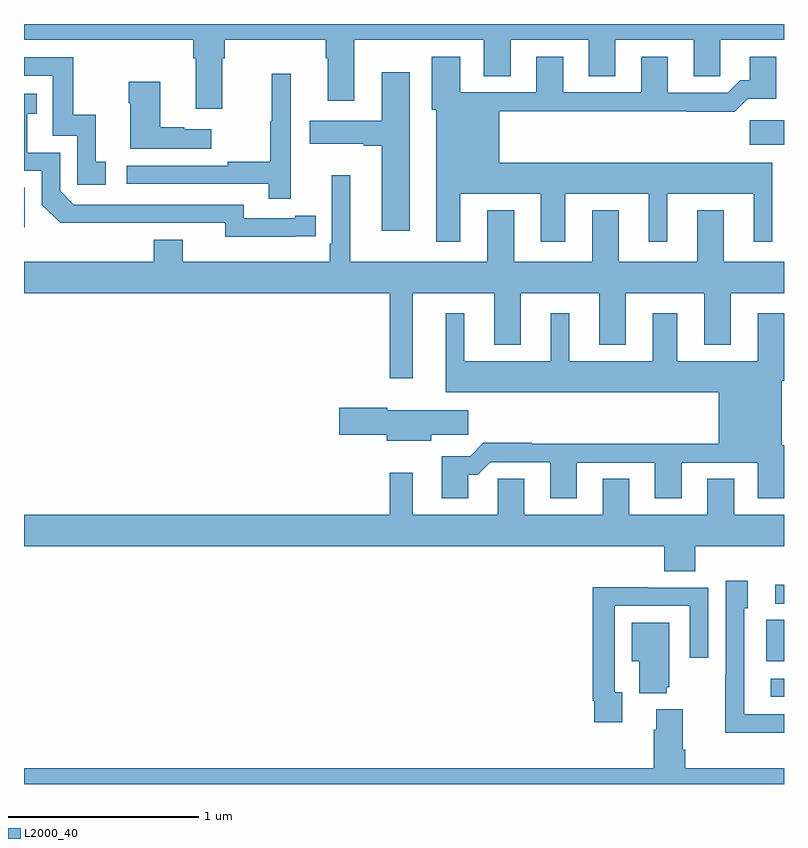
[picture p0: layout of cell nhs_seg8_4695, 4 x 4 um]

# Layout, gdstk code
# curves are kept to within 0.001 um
import gdstk
lib = gdstk.Library(unit=1e-6, precision=1e-09)
def R(c, l, rs):  # rectangles x0, y0, x1, y1
    for r in rs: c.add(gdstk.rectangle(r[:2], r[2:], *l))
def P(c, l, *ps):  # polygons
    for p in ps: c.add(gdstk.Polygon(p, *l))
L2000_40 = (2000, 40)

nhs_seg8_4695 = lib.new_cell('nhs_seg8_4695')
R(nhs_seg8_4695, L2000_40, [(398.931,1130.358,399,1130.454), (398.906,1130.546,399,1130.765), (398.955,1130.85,399,1130.948), (395,1132.83,395.004,1133.037), (398.82,1133.264,399,1133.393)])
P(nhs_seg8_4695, L2000_40, [(396.043,1133.72),(396.056,1133.72),(396.056,1133.816),(396.587,1133.816),(396.587,1133.72),(396.599,1133.72),(396.599,1133.496),(396.739,1133.496),(396.739,1133.816),(397.421,1133.816),(397.421,1133.626),(397.561,1133.626),(397.561,1133.816),(397.973,1133.816),(397.973,1133.626),(398.113,1133.626),(398.113,1133.816),(398.525,1133.816),(398.525,1133.626),(398.664,1133.626),(398.664,1133.816),(399,1133.816),(399,1133.9),(395,1133.9),(395,1133.816),(395.891,1133.816),(395.891,1133.72),(395.903,1133.72),(395.903,1133.454),(396.043,1133.454)],
  [(397.297,1133.006),(397.721,1133.006),(397.721,1132.755),(397.849,1132.755),(397.849,1133.006),(398.288,1133.006),(398.288,1132.755),(398.386,1132.755),(398.386,1133.006),(398.84,1133.006),(398.84,1132.755),(398.938,1132.755),(398.938,1133.17),(397.501,1133.17),(397.501,1133.44),(398.485,1133.44),(398.485,1133.438),(398.741,1133.438),(398.81,1133.507),(398.959,1133.507),(398.959,1133.728),(398.819,1133.728),(398.819,1133.605),(398.77,1133.605),(398.703,1133.538),(398.389,1133.538),(398.389,1133.728),(398.249,1133.728),(398.249,1133.541),(397.837,1133.541),(397.837,1133.728),(397.697,1133.728),(397.697,1133.541),(397.297,1133.541),(397.297,1133.728),(397.145,1133.728),(397.145,1133.448),(397.169,1133.448),(397.169,1132.755),(397.297,1132.755)],
  [(395.431,1133.175),(395.378,1133.175),(395.378,1133.422),(395.26,1133.422),(395.26,1133.724),(395,1133.724),(395,1133.628),(395.151,1133.628),(395.151,1133.313),(395.28,1133.313),(395.28,1133.055),(395.431,1133.055)],
  [(397.03,1133.647),(396.884,1133.647),(396.884,1133.392),(396.504,1133.392),(396.504,1133.27),(396.788,1133.27),(396.788,1133.258),(396.884,1133.258),(396.884,1132.812),(397.03,1132.812)],
  [(396.405,1133.638),(396.304,1133.638),(396.304,1133.388),(396.297,1133.388),(396.297,1133.174),(396.073,1133.174),(396.073,1133.154),(395.541,1133.154),(395.541,1133.058),(396.289,1133.058),(396.289,1132.98),(396.405,1132.98)],
  [(395.986,1133.347),(395.843,1133.347),(395.843,1133.357),(395.716,1133.357),(395.716,1133.596),(395.551,1133.596),(395.551,1133.483),(395.558,1133.483),(395.558,1133.243),(395.986,1133.243)],
  [(396.428,1132.782),(396.536,1132.782),(396.536,1132.891),(396.428,1132.891),(396.428,1132.878),(396.156,1132.878),(396.156,1132.95),(395.262,1132.95),(395.19,1133.022),(395.19,1133.223),(395.017,1133.223),(395.017,1133.427),(395.066,1133.427),(395.066,1133.533),(395,1133.533),(395,1133.127),(395.094,1133.127),(395.094,1132.95),(395.192,1132.853),(396.06,1132.854),(396.06,1132.781)],
  [(397.045,1132.484),(397.475,1132.484),(397.475,1132.211),(397.615,1132.211),(397.615,1132.484),(398.027,1132.484),(398.027,1132.211),(398.167,1132.211),(398.167,1132.484),(398.579,1132.484),(398.579,1132.211),(398.719,1132.211),(398.719,1132.484),(399,1132.484),(399,1132.648),(398.683,1132.648),(398.683,1132.921),(398.543,1132.921),(398.543,1132.648),(398.131,1132.648),(398.131,1132.921),(397.991,1132.921),(397.991,1132.648),(397.579,1132.648),(397.579,1132.921),(397.439,1132.921),(397.439,1132.648),(396.718,1132.648),(396.718,1133.104),(396.621,1133.104),(396.621,1132.744),(396.608,1132.744),(396.608,1132.648),(395.836,1132.648),(395.836,1132.765),(395.684,1132.765),(395.684,1132.648),(395,1132.648),(395,1132.484),(396.924,1132.484),(396.924,1132.035),(397.045,1132.035)],
  [(397.339,1131.527),(397.388,1131.527),(397.455,1131.594),(397.769,1131.594),(397.769,1131.405),(397.909,1131.405),(397.909,1131.591),(398.321,1131.591),(398.321,1131.405),(398.461,1131.405),(398.461,1131.591),(398.861,1131.591),(398.861,1131.405),(399,1131.405),(399,1131.684),(398.989,1131.684),(398.989,1132.022),(399,1132.022),(399,1132.378),(398.861,1132.378),(398.861,1132.126),(398.437,1132.126),(398.437,1132.378),(398.309,1132.378),(398.309,1132.126),(397.87,1132.126),(397.87,1132.378),(397.772,1132.378),(397.772,1132.126),(397.318,1132.126),(397.318,1132.378),(397.22,1132.378),(397.22,1131.962),(398.657,1131.962),(398.657,1131.692),(397.673,1131.692),(397.673,1131.695),(397.418,1131.695),(397.348,1131.625),(397.199,1131.625),(397.199,1131.405),(397.339,1131.405)],
  [(397.144,1131.739),(397.339,1131.739),(397.339,1131.868),(396.912,1131.868),(396.912,1131.881),(396.66,1131.881),(396.66,1131.739),(396.908,1131.739),(396.908,1131.707),(397.144,1131.707)],
  [(398.534,1131.152),(399,1131.152),(399,1131.316),(398.737,1131.316),(398.737,1131.506),(398.597,1131.506),(398.597,1131.316),(398.185,1131.316),(398.185,1131.506),(398.045,1131.506),(398.045,1131.316),(397.633,1131.316),(397.633,1131.506),(397.494,1131.506),(397.494,1131.316),(397.045,1131.316),(397.045,1131.538),(396.924,1131.538),(396.924,1131.316),(395,1131.316),(395,1131.152),(398.369,1131.152),(398.369,1131.019),(398.534,1131.019)],
  [(399,1130.268),(398.79,1130.268),(398.79,1130.826),(398.809,1130.826),(398.809,1130.971),(398.694,1130.971),(398.694,1130.477),(398.692,1130.477),(398.692,1130.171),(399,1130.171)],
  [(398.149,1130.382),(398.109,1130.382),(398.109,1130.838),(398.505,1130.838),(398.505,1130.565),(398.601,1130.565),(398.601,1130.934),(398.285,1130.934),(398.285,1130.936),(397.993,1130.936),(397.993,1130.338),(398.001,1130.338),(398.001,1130.226),(398.149,1130.226)],
  [(398.384,1130.409),(398.395,1130.409),(398.395,1130.749),(398.198,1130.749),(398.198,1130.546),(398.237,1130.546),(398.237,1130.378),(398.384,1130.378)],
  [(395,1129.9),(399,1129.9),(399,1129.984),(398.48,1129.984),(398.48,1130.08),(398.467,1130.08),(398.467,1130.293),(398.327,1130.293),(398.327,1130.186),(398.315,1130.186),(398.315,1129.984),(395,1129.984)])

lib.write_gds('nhs_seg8_4695.gds')
